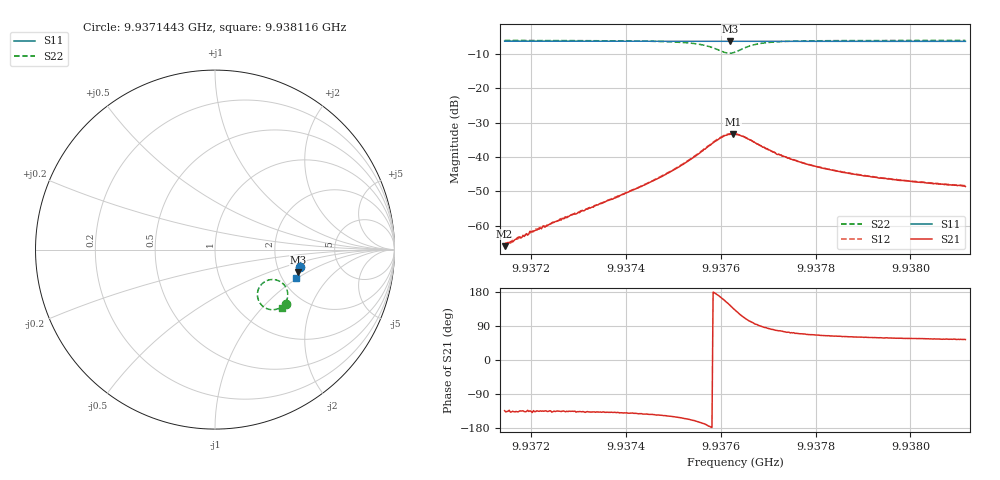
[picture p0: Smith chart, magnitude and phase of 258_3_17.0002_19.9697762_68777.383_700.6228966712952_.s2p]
#  HZ  S  RI  R  50.00
! Rohde & Schwarz Vector Network Analyzer
! Rohde-Schwarz,ZNB20-2Port,1311601062101988,3.16
! Created: UTC 3/20/2024, 11:03:40 PM
! freq[Hz]  re:S11  im:S11  re:S21  im:S21  re:S12  im:S12  re:S22  im:S22
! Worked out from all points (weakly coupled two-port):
!   401 points, 9.9371443 GHz to 9.938116 GHz, reference 50 ohm
!   highest |S21| = -33.25 dB at 9.9376253 GHz (marker M1); lowest = -65.8 dB at 9.9371443 GHz (marker M2)
!   lowest |S11| = -6.4 dB at 9.9376204 GHz (marker M3), VSWR 2.84, Z = 126 - j41.7 ohm
!   |S11| at or under -10 dB: nowhere
!   |S22| runs from -9.8 to -6.1 dB; largest |S21 - S12| = 0.001
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9.93714434e9  0.4744 -0.0969  -0.000355 -0.00037  -0.000367 -0.00035  0.3934 -0.3007
9.93717106e9  0.4738 -0.0986  -0.000488 -0.00046  -0.000449 -0.000457  0.3913 -0.3028
9.9371832e9  0.4737 -0.0994  -0.000505 -0.000524  -0.000535 -0.00049  0.3905 -0.3036
9.93720264e9  0.4733 -0.1009  -0.000612 -0.000538  -0.000599 -0.00059  0.3888 -0.305
9.93721478e9  0.473 -0.1017  -0.000632 -0.000631  -0.000643 -0.000636  0.3878 -0.3059
9.93730709e9  0.4712 -0.108  -0.00121 -0.00113  -0.00124 -0.00112  0.3786 -0.3139
9.93740182e9  0.4691 -0.1143  -0.00231 -0.00199  -0.00236 -0.00195  0.3642 -0.3237
9.93746983e9  0.4675 -0.1189  -0.00409 -0.00282  -0.00421 -0.00282  0.3456 -0.3315
9.93752084e9  0.4662 -0.1224  -0.00704 -0.00346  -0.00723 -0.00341  0.319 -0.3352
9.93756699e9  0.4645 -0.1255  -0.0128 -0.00245  -0.0132 -0.00213  0.2715 -0.3196
9.937601e9  0.4629 -0.127  -0.0184 0.00514  -0.0188 0.00584  0.2363 -0.2526
9.93762043e9  0.4624 -0.1273  -0.0172 0.013  -0.017 0.0137  0.259 -0.1934
9.93762529e9  0.4625 -0.1273  -0.016 0.0147  -0.0156 0.0155  0.2719 -0.1822
9.93763015e9  0.4624 -0.1274  -0.0144 0.0161  -0.014 0.0168  0.2868 -0.1736
9.93764472e9  0.4629 -0.1281  -0.00887 0.0181  -0.00847 0.0186  0.3316 -0.1672
9.9376593e9  0.463 -0.1289  -0.00427 0.0177  -0.0039 0.0178  0.3661 -0.1797
9.93768602e9  0.463 -0.1309  0.000347 0.0144  0.0006 0.0145  0.3963 -0.2134
9.93772245e9  0.4625 -0.1335  0.00251 0.0108  0.00264 0.0106  0.4052 -0.2473
9.9377929e9  0.461 -0.1387  0.00296 0.00692  0.00313 0.00688  0.4006 -0.2803
9.93786091e9  0.4594 -0.1434  0.00282 0.00526  0.00293 0.00529  0.3936 -0.2964
9.93795564e9  0.4571 -0.1494  0.00255 0.00409  0.00265 0.00408  0.3851 -0.3099
9.93811596e9  0.4528 -0.1599  0.0022 0.00302  0.00228 0.00309  0.3733 -0.3246
